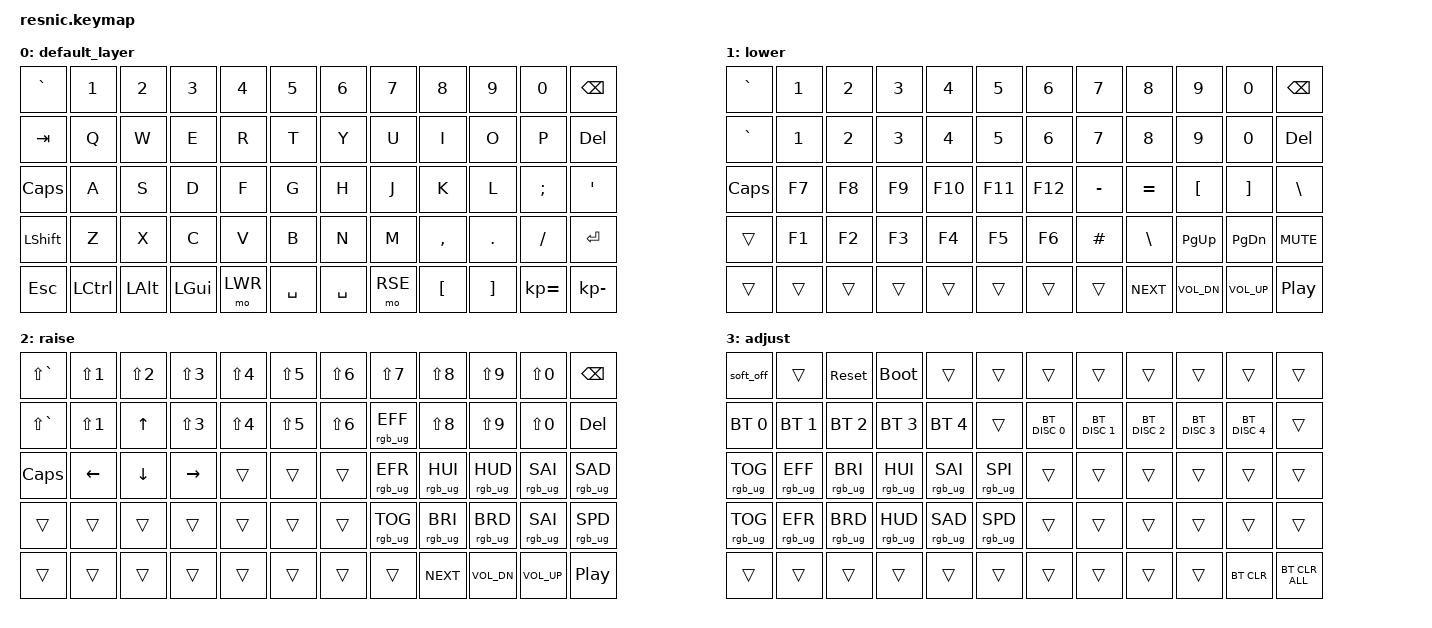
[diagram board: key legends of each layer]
#include <dt-bindings/zmk/behaviors.h>
#include <behaviors.dtsi>
#include <dt-bindings/zmk/keys.h>
#include <dt-bindings/zmk/bt.h>
#include <dt-bindings/zmk/rgb.h>

// layer aliases

#define DEFAULT 0
#define LWR     1
#define RSE     2
#define ADJ     3

// make it more similar to QMK default
&mt { flavor = "tap-preferred"; };

/ {
    conditional_layers {
        compatible = "zmk,conditional-layers";

        tri_layer {
            if-layers = <LWR RSE>;
            then-layer = <ADJ>;
        };
    };

    keymap {
        compatible = "zmk,keymap";

        //DEFAULT layer 

        default_layer {
            bindings = <
&kp GRAVE          &kp N1       &kp N2    &kp N3      &kp N4       &kp N5     &kp N6     &kp N7       &kp N8      &kp N9   &kp N0          &kp BSPC
&kp TAB            &kp Q        &kp W     &kp E       &kp R        &kp T      &kp Y      &kp U        &kp I       &kp O    &kp P           &kp DEL
&kp CAPS           &kp A        &kp S     &kp D       &kp F        &kp G      &kp H      &kp J        &kp K       &kp L    &kp SEMI        &kp SQT
&kp LSHFT          &kp Z        &kp X     &kp C       &kp V        &kp B      &kp N      &kp M        &kp COMMA   &kp DOT  &kp SLASH       &kp RET
&kp ESC            &kp LCTRL    &kp LALT  &kp LGUI    &mo LWR      &kp SPACE  &kp SPACE  &mo RSE      &kp LBKT    &kp RBKT &kp KP_EQUAL    &kp KP_MINUS
            >;
        };

        // LWR layer

        lower {
            bindings = <
&kp GRAVE  &kp N1  &kp N2  &kp N3  &kp N4   &kp N5   &kp N6   &kp N7      &kp N8        &kp N9        &kp N0       &kp BSPC
&kp GRAVE  &kp N1  &kp N2  &kp N3  &kp N4   &kp N5   &kp N6   &kp N7      &kp N8        &kp N9        &kp N0       &kp DEL
&kp CAPS   &kp F7  &kp F8  &kp F9  &kp F10  &kp F11  &kp F12  &kp MINUS   &kp EQUAL     &kp LBKT      &kp RBKT     &kp BSLH
&trans     &kp F1  &kp F2  &kp F3  &kp F4   &kp F5   &kp F6   &kp HASH    &kp BSLH      &kp PG_UP     &kp PG_DN    &kp C_MUTE
&trans     &trans  &trans  &trans  &trans   &trans   &trans   &trans	  &kp C_NEXT    &kp C_VOL_DN  &kp C_VOL_UP &kp C_PP

            >;
        };

        // RSE layer

        raise {
            bindings = <
&kp LS(GRAVE)  &kp LS(N1)  &kp LS(N2)  &kp LS(N3)  &kp LS(N4)  &kp LS(N5)  &kp LS(N6)  &kp LS(N7)        &kp LS(N8)        &kp LS(N9)          &kp LS(N0)          &kp BSPC
&kp LS(GRAVE)  &kp LS(N1)  &kp UP      &kp LS(N3)  &kp LS(N4)  &kp LS(N5)  &kp LS(N6)  &rgb_ug RGB_EFF   &kp LS(N8)        &kp LS(N9)          &kp LS(N0)          &kp DEL
&kp CAPS       &kp LEFT    &kp DOWN    &kp RIGHT   &trans      &trans      &trans      &rgb_ug RGB_EFR   &rgb_ug RGB_HUI   &rgb_ug RGB_HUD     &rgb_ug RGB_SAI     &rgb_ug RGB_SAD 
&trans         &trans      &trans      &trans      &trans      &trans      &trans      &rgb_ug RGB_TOG   &rgb_ug RGB_BRI   &rgb_ug RGB_BRD     &rgb_ug RGB_SAI     &rgb_ug RGB_SPD
&trans         &trans      &trans      &trans      &trans      &trans      &trans      &trans            &kp C_NEXT        &kp C_VOL_DN        &kp C_VOL_UP        &kp C_PP
            >;
        };

        // ADJ	layer

        adjust {
            bindings = <
&soft_off        &trans           &sys_reset       &bootloader       &trans            &trans           &trans            &trans            &trans           &trans            &trans            &trans
&bt BT_SEL 0     &bt BT_SEL 1     &bt BT_SEL 2     &bt BT_SEL 3      &bt BT_SEL 4      &trans           &bt BT_DISC 0     &bt BT_DISC 1     &bt BT_DISC 2    &bt BT_DISC 3     &bt BT_DISC 4     &trans
&rgb_ug RGB_TOG  &rgb_ug RGB_EFF  &rgb_ug RGB_BRI  &rgb_ug RGB_HUI   &rgb_ug RGB_SAI   &rgb_ug RGB_SPI  &trans            &trans            &trans           &trans            &trans            &trans
&rgb_ug RGB_TOG  &rgb_ug RGB_EFR  &rgb_ug RGB_BRD  &rgb_ug RGB_HUD   &rgb_ug RGB_SAD   &rgb_ug RGB_SPD  &trans            &trans            &trans           &trans            &trans            &trans
&trans           &trans           &trans           &trans            &trans            &trans           &trans            &trans            &trans           &trans            &bt BT_CLR        &bt BT_CLR_ALL
            >;
        };
    };
};
